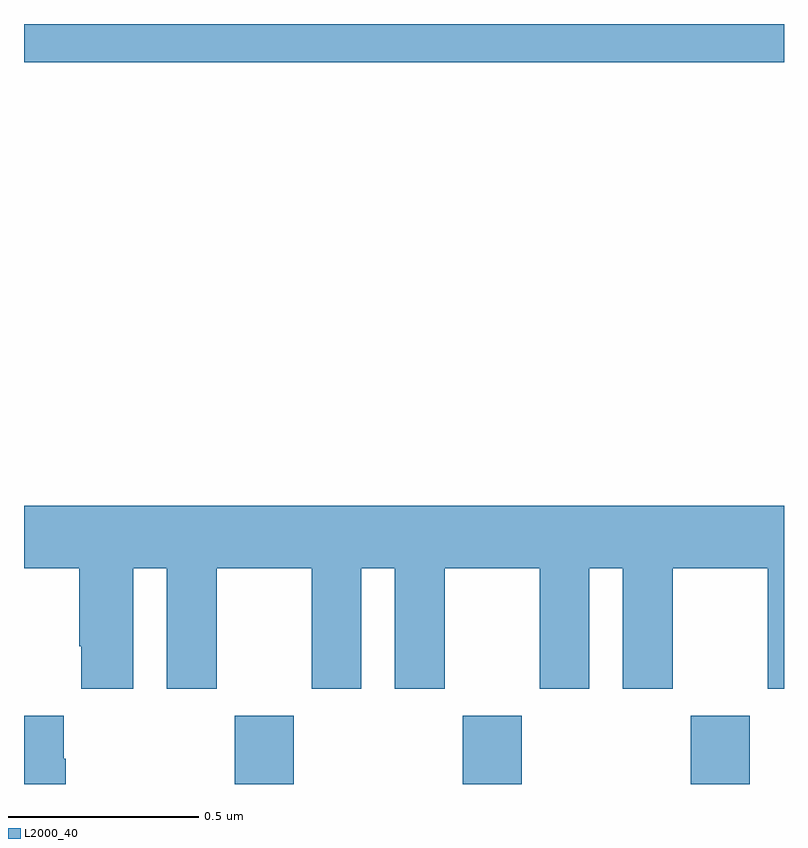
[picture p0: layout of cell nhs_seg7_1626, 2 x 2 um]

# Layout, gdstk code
import gdstk
lib = gdstk.Library(unit=1e-6, precision=1e-09)
def R(c, l, rs):  # rectangles x0, y0, x1, y1
    for r in rs: c.add(gdstk.rectangle(r[:2], r[2:], *l))
def A(c, l, x, y, w, h, nx, ny, dx, dy):  # array of equal rectangles
    R(c, l, [(x+i*dx, y+j*dy, x+i*dx+w, y+j*dy+h) for i in range(nx) for j in range(ny)])
def P(c, l, *ps):  # polygons
    for p in ps: c.add(gdstk.Polygon(p, *l))
L2000_40 = (2000, 40)

nhs_seg7_1626 = lib.new_cell('nhs_seg7_1626')
A(nhs_seg7_1626, L2000_40, 133.555, 1048, 0.155, 0.18, 3, 1, 0.6, 0)
R(nhs_seg7_1626, L2000_40, [(133,1049.9,135,1050)])
P(nhs_seg7_1626, L2000_40, [(133.288,1048.568),(133.376,1048.568),(133.376,1048.251),(133.507,1048.251),(133.507,1048.568),(133.757,1048.568),(133.757,1048.251),(133.888,1048.251),(133.888,1048.568),(133.976,1048.568),(133.976,1048.251),(134.107,1048.251),(134.107,1048.568),(134.357,1048.568),(134.357,1048.251),(134.488,1048.251),(134.488,1048.568),(134.576,1048.568),(134.576,1048.251),(134.707,1048.251),(134.707,1048.568),(134.957,1048.568),(134.957,1048.251),(135,1048.251),(135,1048.732),(133,1048.732),(133,1048.568),(133.145,1048.568),(133.145,1048.363),(133.151,1048.363),(133.151,1048.251),(133.288,1048.251)],
  [(133.11,1048.067),(133.105,1048.067),(133.105,1048.18),(133,1048.18),(133,1048),(133.11,1048)])

lib.write_gds('nhs_seg7_1626.gds')
